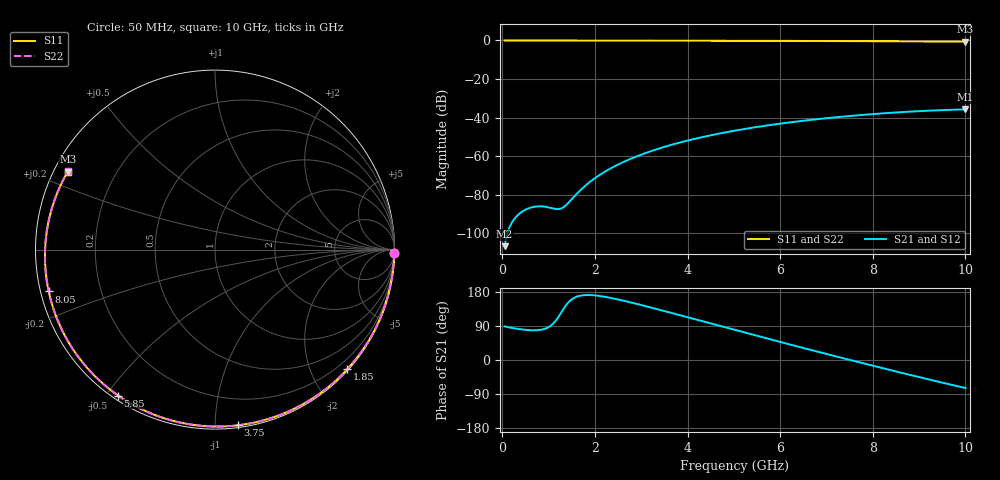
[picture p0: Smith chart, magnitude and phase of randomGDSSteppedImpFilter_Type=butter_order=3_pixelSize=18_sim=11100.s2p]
! freq	dB(S11)	phase(S11)	dB(S12)	phase(S12)
!  dB(S21)	phase(S21)	dB(S22)	phase(S22)
!S-par simulation data
#  GHz  S  DB  R 50
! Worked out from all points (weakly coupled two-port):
!   200 points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, 50 MHz to 10 GHz, reference 50 ohm
!   highest |S21| = -35.72 dB at 10 GHz (marker M1); lowest = -106.7 dB at 50 MHz (marker M2)
!   lowest |S11| = -0.6 dB at 10 GHz (marker M3), VSWR 27.02, Z = 1.96 + j12.4 ohm
!   |S11| at or under -10 dB: nowhere
!   |S22| runs from -0.6 to 0.0 dB; largest |S21 - S12| = 0
!   S11 on the Smith chart (normalised r, x): 50 MHz: open; 1.85 GHz: 0.02, -2.59; 3.75 GHz: 0.01, -1.14; 5.85 GHz: 0.02, -0.54; 8.05 GHz: 0.02, -0.12; 10 GHz: 0.04, +0.25
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0.05  -0.00 -1.1  -106.66 88.5  -106.66 88.5  -0.00 -1.1
0.8  -0.02 -18.5  -85.99 79.2  -85.99 79.2  -0.02 -18.5
1.55  -0.05 -35.5  -80.99 164.0  -80.99 164.0  -0.05 -35.5
1.6  -0.05 -36.6  -79.72 166.8  -79.72 166.8  -0.05 -36.6
1.75  -0.05 -40.0  -76.21 171.0  -76.21 171.0  -0.05 -40.0
1.85  -0.05 -42.2  -74.15 171.6  -74.15 171.6  -0.05 -42.2
2.15  -0.06 -48.8  -69.00 168.1  -69.00 168.1  -0.06 -48.8
2.5  -0.07 -56.4  -64.34 159.8  -64.34 159.8  -0.07 -56.4
2.9  -0.08 -64.9  -60.12 148.1  -60.12 148.1  -0.08 -64.9
3.4  -0.10 -75.4  -55.91 132.4  -55.91 132.4  -0.10 -75.4
3.75  -0.11 -82.5  -53.46 121.0  -53.46 121.0  -0.11 -82.5
4.4  -0.14 -95.6  -49.68 99.7  -49.68 99.7  -0.14 -95.6
5.05  -0.17 -108.3  -46.64 78.4  -46.64 78.4  -0.17 -108.3
5.85  -0.21 -123.6  -43.62 52.4  -43.62 52.4  -0.21 -123.6
6.7  -0.27 -139.7  -41.08 25.3  -41.08 25.3  -0.27 -139.7
7.4  -0.33 -153.1  -39.38 3.5  -39.38 3.5  -0.33 -153.1
8.05  -0.40 -165.9  -38.09 -16.6  -38.09 -16.6  -0.40 -165.9
8.35  -0.43 -171.9  -37.58 -25.7  -37.58 -25.7  -0.43 -171.9
8.8  -0.48 178.8  -36.91 -39.2  -36.91 -39.2  -0.48 178.8
9.2  -0.53 170.3  -36.42 -51.0  -36.42 -51.0  -0.53 170.2
9.6  -0.59 161.4  -36.02 -62.6  -36.02 -62.6  -0.59 161.3
10  -0.64 152.1  -35.72 -74.0  -35.72 -74.0  -0.64 152.0
